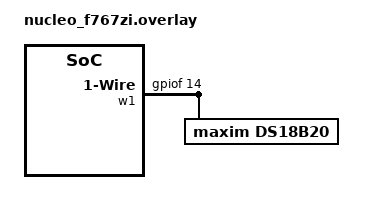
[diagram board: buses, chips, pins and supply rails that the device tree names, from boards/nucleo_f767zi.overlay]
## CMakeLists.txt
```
cmake_minimum_required(VERSION 3.20.0)
find_package(Zephyr REQUIRED HINTS $ENV{ZEPHYR_BASE})
project(thermaltrace_ds18b20_ingest)

target_sources(app PRIVATE src/main.c)
```

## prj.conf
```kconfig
# ThermalTrace DS18B20 → HTTP ingest (Zephyr / STM32 Nucleo-F767ZI)
# Onboard Ethernet. Not Arduino IDE, not Python.
# https://thermaltrace.dev/about/stm32-zephyr-ingest

CONFIG_GPIO=y
CONFIG_W1=y
CONFIG_W1_GPIO=y
CONFIG_SENSOR=y
CONFIG_DS18B20=y

CONFIG_NETWORKING=y
CONFIG_NET_IPV4=y
CONFIG_NET_TCP=y
CONFIG_NET_UDP=y
CONFIG_NET_DHCPV4=y
CONFIG_NET_SOCKETS=y
CONFIG_NET_SOCKETS_POSIX_NAMES=y
CONFIG_HTTP_CLIENT=y
CONFIG_DNS_RESOLVER=n

CONFIG_NET_CONFIG_SETTINGS=y
CONFIG_NET_CONFIG_NEED_IPV4=y
CONFIG_NET_CONFIG_MY_IPV4_ADDR=""

CONFIG_LOG=y
CONFIG_NET_LOG=y
CONFIG_PRINTK=y
CONFIG_MAIN_STACK_SIZE=4096
CONFIG_POSIX_API=y
```

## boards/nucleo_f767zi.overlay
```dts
/*
 * DS18B20 on Arduino D4 of Nucleo-F767ZI (PF14).
 * External 4.7k pull-up from data to 3.3V is still required — SoC pull-ups are weak.
 */

/ {
	w1: w1 {
		compatible = "zephyr,w1-gpio";
		gpios = <&gpiof 14 (GPIO_OPEN_DRAIN | GPIO_PULL_UP)>;
		#address-cells = <1>;
		#size-cells = <0>;
		status = "okay";

		ds18b20: ds18b20 {
			compatible = "maxim,ds18b20";
			family-code = <0x28>;
			resolution = <12>;
			status = "okay";
		};
	};
};
```

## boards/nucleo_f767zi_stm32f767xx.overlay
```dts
/*
 * DS18B20 on Arduino D4 of Nucleo-F767ZI (PF14).
 * External 4.7k pull-up from data to 3.3V is still required — SoC pull-ups are weak.
 *
 * Zephyr 4 board name nucleo_f767zi/stm32f767xx picks this overlay automatically.
 */

/ {
	w1: w1 {
		compatible = "zephyr,w1-gpio";
		gpios = <&gpiof 14 (GPIO_OPEN_DRAIN | GPIO_PULL_UP)>;
		#address-cells = <1>;
		#size-cells = <0>;
		status = "okay";

		ds18b20: ds18b20 {
			compatible = "maxim,ds18b20";
			family-code = <0x28>;
			resolution = <12>;
			status = "okay";
		};
	};
};
```

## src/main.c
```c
/**
 * DS18B20 → ThermalTrace push ingest (Zephyr C / STM32).
 *
 * Primary board: ST Nucleo-F767ZI (onboard Ethernet MAC + PHY).
 * Not Arduino IDE, not Python: west + Zephyr SDK, ST-LINK flash.
 *
 * The W5100 Uno path cannot TLS. This sample is the same topology with a
 * Cortex-M7: HTTP POST to a LAN HTTPS relay, then thermaltrace.dev.
 *
 * 1. Create a push device. Download this file from Devices (path pre-filled)
 *    or set INGEST_PATH below.
 * 2. Run sketches/relay/push_https_forward.py on a LAN host.
 * 3. Set INGEST_HOST to that machine.
 * 4. west build -b nucleo_f767zi sketches/zephyr/ds18b20_ingest
 * 5. west flash; Serial 115200 → dhcp ok, then POST 200
 *
 * Wiring: DS18B20 VDD 3.3V, GND, data → Arduino D4 (PF14), 4.7k to 3.3V.
 */

#include <zephyr/kernel.h>
#include <zephyr/device.h>
#include <zephyr/drivers/sensor.h>
#include <zephyr/net/http/client.h>
#include <zephyr/net/net_if.h>
#include <zephyr/net/net_ip.h>
#include <zephyr/net/socket.h>
#include <zephyr/net/dhcpv4.h>

#include <errno.h>
#include <stdio.h>
#include <string.h>
#include <unistd.h>

#ifndef INGEST_HOST
#define INGEST_HOST "192.168.1.50"
#endif
#ifndef INGEST_PORT
#define INGEST_PORT 8080
#endif
#ifndef INGEST_PATH
#define INGEST_PATH "/api/ingest/YOUR_DEVICE_KEY"
#endif

#define INTERVAL_MS 60000
#define RECV_BUF_SIZE 512

static uint8_t recv_buf[RECV_BUF_SIZE];

static int wait_for_ipv4(struct net_if *iface)
{
	net_dhcpv4_start(iface);
	for (int i = 0; i < 45; i++) {
		if (net_if_ipv4_get_global_addr(iface, NET_ADDR_PREFERRED) != NULL) {
			printk("dhcp ok\n");
			return 0;
		}
		k_sleep(K_MSEC(1000));
	}
	printk("dhcp timeout\n");
	return -ETIMEDOUT;
}

static void http_response_cb(struct http_response *rsp,
			     enum http_final_call final_data,
			     void *user_data)
{
	ARG_UNUSED(user_data);

	if (final_data != HTTP_DATA_FINAL) {
		return;
	}
	printk("POST %s\n", rsp->http_status != NULL ? rsp->http_status : "?");
}

static int post_temp_f(float temp_f)
{
	static const char *headers[] = {
		"Content-Type: application/json\r\n",
		NULL,
	};
	char body[96];
	struct sockaddr_in addr;
	struct http_request req;
	int sock;
	int ret;

	snprintk(body, sizeof(body), "{\"temp1\":%.2f}", (double)temp_f);

	memset(&addr, 0, sizeof(addr));
	addr.sin_family = AF_INET;
	addr.sin_port = htons(INGEST_PORT);
	if (inet_pton(AF_INET, INGEST_HOST, &addr.sin_addr) != 1) {
		printk("bad INGEST_HOST\n");
		return -EINVAL;
	}

	sock = socket(AF_INET, SOCK_STREAM, IPPROTO_TCP);
	if (sock < 0) {
		printk("socket %d\n", errno);
		return -errno;
	}

	ret = connect(sock, (struct sockaddr *)&addr, sizeof(addr));
	if (ret < 0) {
		printk("connect %d\n", errno);
		close(sock);
		return -errno;
	}

	memset(&req, 0, sizeof(req));
	req.method = HTTP_POST;
	req.url = INGEST_PATH;
	req.host = INGEST_HOST;
	req.protocol = "HTTP/1.1";
	req.payload = body;
	req.payload_len = strlen(body);
	req.header_fields = headers;
	req.response = http_response_cb;
	req.recv_buf = recv_buf;
	req.recv_buf_len = sizeof(recv_buf);

	ret = http_client_req(sock, &req, 8 * MSEC_PER_SEC, NULL);
	close(sock);
	if (ret < 0) {
		printk("http %d\n", ret);
		return ret;
	}
	return 0;
}

int main(void)
{
	const struct device *ds = DEVICE_DT_GET_ANY(maxim_ds18b20);
	struct net_if *iface = net_if_get_default();
	struct sensor_value val;

	if (ds == NULL || !device_is_ready(ds)) {
		printk("DS18B20 not ready (check D4 / PF14 wiring)\n");
		return 0;
	}
	if (iface == NULL) {
		printk("no network interface\n");
		return 0;
	}

	if (wait_for_ipv4(iface) < 0) {
		return 0;
	}

	while (1) {
		if (sensor_sample_fetch(ds) == 0 &&
		    sensor_channel_get(ds, SENSOR_CHAN_AMBIENT_TEMP, &val) == 0) {
			double c = sensor_value_to_double(&val);
			float f = (float)(c * 9.0 / 5.0 + 32.0);

			printk("temp1 %.2f F\n", (double)f);
			post_temp_f(f);
		} else {
			printk("DS18B20 read failed\n");
		}
		k_sleep(K_MSEC(INTERVAL_MS));
	}
}
```
